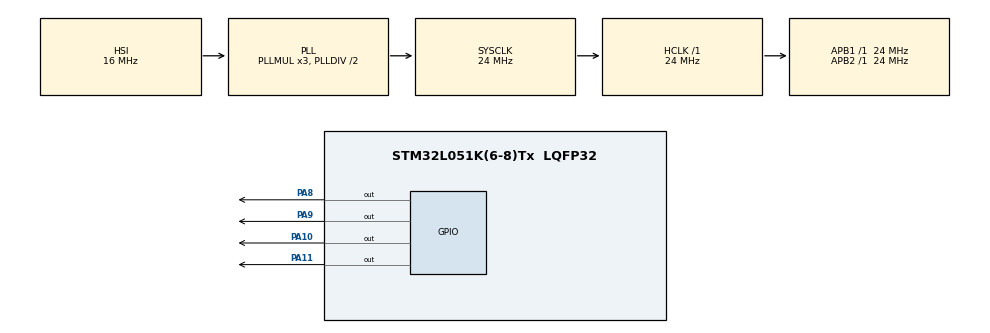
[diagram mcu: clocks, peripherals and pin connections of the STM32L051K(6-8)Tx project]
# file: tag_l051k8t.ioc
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Mcu.Family=STM32L0
Mcu.Name=STM32L051K(6-8)Tx
Mcu.Package=LQFP32
PA10.GPIO_Speed=GPIO_SPEED_FREQ_VERY_HIGH
PA10.PinState=GPIO_PIN_SET
PA10.Signal=GPIO_Output
PA11.GPIO_Speed=GPIO_SPEED_FREQ_VERY_HIGH
PA11.PinState=GPIO_PIN_SET
PA11.Signal=GPIO_Output
PA13.Mode=Serial_Wire
PA13.Signal=SYS_SWDIO
PA14.Mode=Serial_Wire
PA14.Signal=SYS_SWCLK
PA8.GPIO_Speed=GPIO_SPEED_FREQ_VERY_HIGH
PA8.PinState=GPIO_PIN_RESET
PA8.Signal=GPIO_Output
PA9.GPIO_Speed=GPIO_SPEED_FREQ_VERY_HIGH
PA9.PinState=GPIO_PIN_SET
PA9.Signal=GPIO_Output
PC14-OSC32_IN.Mode=LSE-External-Oscillator
PC14-OSC32_IN.Signal=RCC_OSC32_IN
PC15-OSC32_OUT.Mode=LSE-External-Oscillator
PC15-OSC32_OUT.Signal=RCC_OSC32_OUT
ProjectManager.HeapSize=0x200
ProjectManager.StackSize=0x400
ProjectManager.TargetToolchain=MDK-ARM V5
RCC.AHBFreq_Value=24000000
RCC.APB1Freq_Value=24000000
RCC.APB1TimFreq_Value=24000000
RCC.APB2Freq_Value=24000000
RCC.APB2TimFreq_Value=24000000
RCC.HCLKFreq_Value=24000000
RCC.HSI16_VALUE=16000000
RCC.HSI_VALUE=16000000
RCC.MSI_VALUE=2097000
RCC.SYSCLKFreq_VALUE=24000000
RCC.SYSCLKSource=RCC_SYSCLKSOURCE_PLLCLK
RCC.VCOOutputFreq_Value=48000000
board=custom

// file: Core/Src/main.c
/* USER CODE BEGIN Header */
/**
  ******************************************************************************
  * @file           : main.c
  * @brief          : Main program body
  ******************************************************************************
  * @attention
  *
  * <h2><center>&copy; Copyright (c) 2020 STMicroelectronics.
  * All rights reserved.</center></h2>
  *
  * This software component is licensed by ST under BSD 3-Clause license,
  * the "License"; You may not use this file except in compliance with the
  * License. You may obtain a copy of the License at:
  *                        opensource.org/licenses/BSD-3-Clause
  *
  ******************************************************************************
  */
/* USER CODE END Header */
#include "main.h"

void SystemClock_Config(void);
static void MX_GPIO_Init(void);

/* USER CODE BEGIN 0 */

#define AD9838_Control_Port  GPIOA
#define AD9838_RESET  GPIO_PIN_8
#define AD9838_SDATA  GPIO_PIN_9
#define AD9838_SCLK   GPIO_PIN_10
#define AD9838_FSYNC  GPIO_PIN_11

#define AD9838_FSYNC_SET   HAL_GPIO_WritePin(AD9838_Control_Port ,AD9838_FSYNC, GPIO_PIN_SET)
#define AD9838_FSYNC_CLR   HAL_GPIO_WritePin(AD9838_Control_Port ,AD9838_FSYNC, GPIO_PIN_RESET)
#define AD9838_SCLK_SET   HAL_GPIO_WritePin(AD9838_Control_Port ,AD9838_SCLK, GPIO_PIN_SET)
#define AD9838_SCLK_CLR   HAL_GPIO_WritePin(AD9838_Control_Port ,AD9838_SCLK, GPIO_PIN_RESET)
#define AD9838_SDATA_SET   HAL_GPIO_WritePin(AD9838_Control_Port ,AD9838_SDATA, GPIO_PIN_SET)
#define AD9838_SDATA_CLR   HAL_GPIO_WritePin(AD9838_Control_Port ,AD9838_SDATA, GPIO_PIN_RESET)
#define AD9838_RESET_SET   HAL_GPIO_WritePin(AD9838_Control_Port ,AD9838_RESET, GPIO_PIN_SET)
#define AD9838_RESET_CLR   HAL_GPIO_WritePin(AD9838_Control_Port ,AD9838_RESET, GPIO_PIN_RESET)

void delay_n(int time)
{
	int i = 0;
	while(i++<20*time);

}

void AD9838_Write_16Bits(unsigned int data)
{
    unsigned char i = 0 ;

    AD9838_SCLK_SET ;
    AD9838_FSYNC_CLR ;

    for(i=0 ;i<16 ;i++)
		{
        if(data & 0x8000)
          AD9838_SDATA_SET ;
        else
          AD9838_SDATA_CLR ;

        AD9838_SCLK_CLR ;
        data <<= 1 ;
        AD9838_SCLK_SET ;
    }
    AD9838_SDATA_SET ;
    AD9838_FSYNC_SET ;
}

#define Triangle_Wave    0x2002
#define Sine_Wave  0x2038
#define Square_Wave 0x2028

void AD9838_Select_Wave(unsigned int initdata)
{
    AD9838_FSYNC_SET;
    AD9838_SCLK_SET;
    AD9838_RESET_SET;
    AD9838_RESET_CLR;
    AD9838_Write_16Bits(initdata);
}

void AD9838_Init()
{
		AD9838_RESET_SET;
AD9838_SCLK_CLR ;

	AD9838_FSYNC_SET;
		AD9838_SCLK_SET;
		AD9838_SDATA_SET;
		AD9838_RESET_CLR;

		AD9838_Write_16Bits(0x2100);
		AD9838_Write_16Bits(0x2038);
		AD9838_Write_16Bits(0XC000);
		AD9838_Write_16Bits(0x2100);
}

#define AD9838_SYSTEM_COLCK     16000000UL //16MHz为AD9838主时钟
#define FREQ_0      0
#define FREQ_1      1
void AD9838_Set_Freq(unsigned char freq_number, unsigned long freq)
{
    unsigned long FREQREG = (unsigned long)(268435456.0/AD9838_SYSTEM_COLCK*freq);
    unsigned int FREQREG_LSB_14BIT = (unsigned int)FREQREG;
    unsigned int FREQREG_MSB_14BIT = (unsigned int)(FREQREG>>14);

    if(freq_number == FREQ_0)
    {
        FREQREG_LSB_14BIT &= ~(1U<<15);
        FREQREG_LSB_14BIT |= 1<<14;
        FREQREG_MSB_14BIT &= ~(1U<<15);
        FREQREG_MSB_14BIT |= 1<<14;
    }
    else
    {
        FREQREG_LSB_14BIT &= ~(1<<14);
        FREQREG_LSB_14BIT |= 1U<<15;
        FREQREG_MSB_14BIT &= ~(1<<14);
        FREQREG_MSB_14BIT |= 1U<<15;
    }
    AD9838_Write_16Bits(FREQREG_LSB_14BIT);
    AD9838_Write_16Bits(FREQREG_MSB_14BIT);
}

/* USER CODE END 0 */

int main(void)
{

  /* MCU Configuration--------------------------------------------------------*/

  /* Reset of all peripherals, Initializes the Flash interface and the Systick. */
  HAL_Init();

  /* Configure the system clock */
  SystemClock_Config();

  /* Initialize all configured peripherals */
  MX_GPIO_Init();
  /* USER CODE BEGIN 2 */

	AD9838_Init() ;
	AD9838_Select_Wave(Sine_Wave) ;
	AD9838_Set_Freq(FREQ_1, 4025000);
	AD9838_Set_Freq(FREQ_0, 4600000);

	AD9838_Write_16Bits(0x2030);
  /* USER CODE END 2 */

  /* Infinite loop */
  /* USER CODE BEGIN WHILE */
  while (1)
  {

				delay_n(100);
		//AD9838_Write_16Bits(0x2038);
		delay_n(100);
		//AD9838_Write_16Bits(0x2838);

    /* USER CODE END WHILE */

  }
}

void SystemClock_Config(void)
{
  RCC_OscInitTypeDef RCC_OscInitStruct = {0};
  RCC_ClkInitTypeDef RCC_ClkInitStruct = {0};

  /** Configure the main internal regulator output voltage
  */
  __HAL_PWR_VOLTAGESCALING_CONFIG(PWR_REGULATOR_VOLTAGE_SCALE1);
  /** Initializes the RCC Oscillators according to the specified parameters
  * in the RCC_OscInitTypeDef structure.
  */
  RCC_OscInitStruct.OscillatorType = RCC_OSCILLATORTYPE_HSI;
  RCC_OscInitStruct.HSIState = RCC_HSI_ON;
  RCC_OscInitStruct.HSICalibrationValue = RCC_HSICALIBRATION_DEFAULT;
  RCC_OscInitStruct.PLL.PLLState = RCC_PLL_ON;
  RCC_OscInitStruct.PLL.PLLSource = RCC_PLLSOURCE_HSI;
  RCC_OscInitStruct.PLL.PLLMUL = RCC_PLLMUL_3;
  RCC_OscInitStruct.PLL.PLLDIV = RCC_PLLDIV_2;
  if (HAL_RCC_OscConfig(&RCC_OscInitStruct) != HAL_OK)
  {
    Error_Handler();
  }
  /** Initializes the CPU, AHB and APB buses clocks
  */
  RCC_ClkInitStruct.ClockType = RCC_CLOCKTYPE_HCLK|RCC_CLOCKTYPE_SYSCLK
                              |RCC_CLOCKTYPE_PCLK1|RCC_CLOCKTYPE_PCLK2;
  RCC_ClkInitStruct.SYSCLKSource = RCC_SYSCLKSOURCE_PLLCLK;
  RCC_ClkInitStruct.AHBCLKDivider = RCC_SYSCLK_DIV1;
  RCC_ClkInitStruct.APB1CLKDivider = RCC_HCLK_DIV1;
  RCC_ClkInitStruct.APB2CLKDivider = RCC_HCLK_DIV1;

  if (HAL_RCC_ClockConfig(&RCC_ClkInitStruct, FLASH_LATENCY_1) != HAL_OK)
  {
    Error_Handler();
  }
}

static void MX_GPIO_Init(void)
{
  GPIO_InitTypeDef GPIO_InitStruct = {0};

  /* GPIO Ports Clock Enable */
  __HAL_RCC_GPIOC_CLK_ENABLE();
  __HAL_RCC_GPIOA_CLK_ENABLE();

  /*Configure GPIO pin Output Level */
  HAL_GPIO_WritePin(GPIOA, GPIO_PIN_8, GPIO_PIN_RESET);

  /*Configure GPIO pin Output Level */
  HAL_GPIO_WritePin(GPIOA, GPIO_PIN_9|GPIO_PIN_10|GPIO_PIN_11, GPIO_PIN_SET);

  /*Configure GPIO pins : PA8 PA9 PA10 PA11 */
  GPIO_InitStruct.Pin = GPIO_PIN_8|GPIO_PIN_9|GPIO_PIN_10|GPIO_PIN_11;
  GPIO_InitStruct.Mode = GPIO_MODE_OUTPUT_PP;
  GPIO_InitStruct.Pull = GPIO_NOPULL;
  GPIO_InitStruct.Speed = GPIO_SPEED_FREQ_VERY_HIGH;
  HAL_GPIO_Init(GPIOA, &GPIO_InitStruct);

}

void Error_Handler(void)
{
}

/************************ (C) COPYRIGHT STMicroelectronics *****END OF FILE****/
